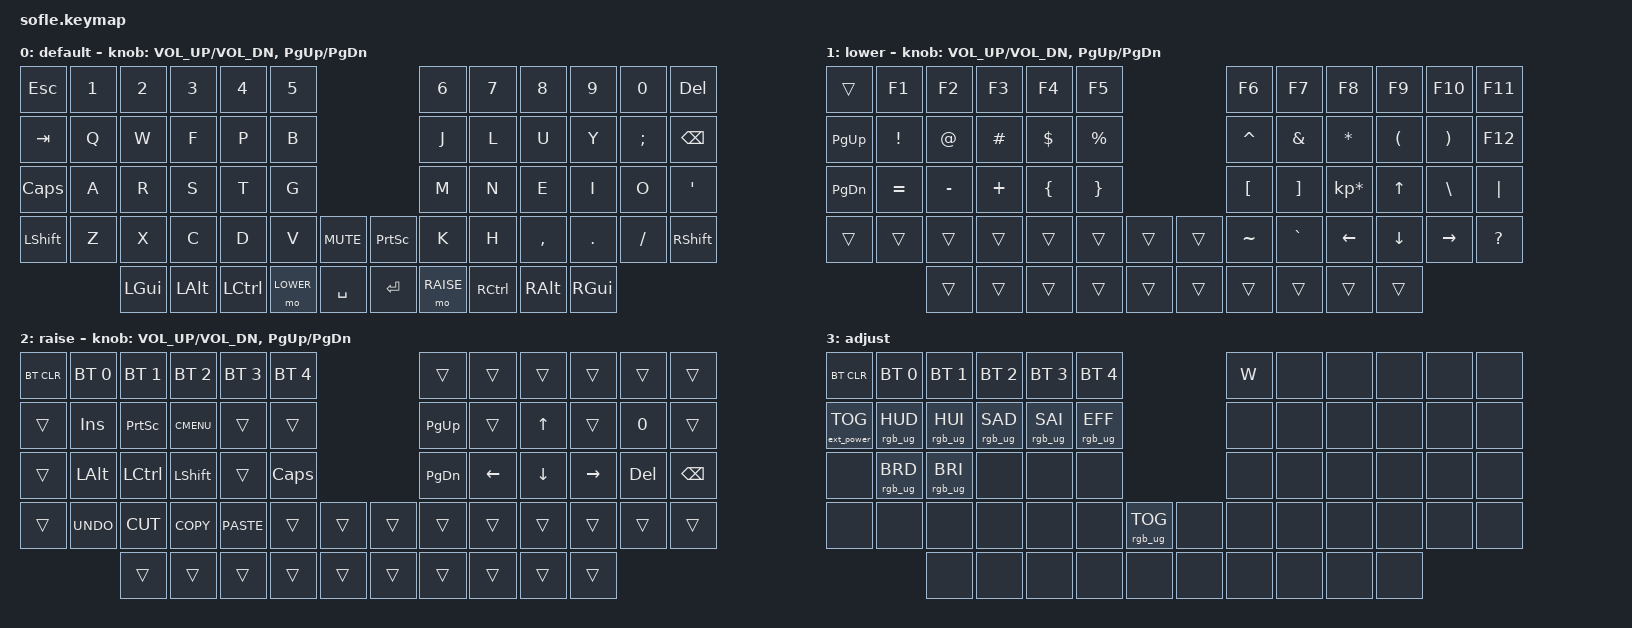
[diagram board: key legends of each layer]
/*
 * Copyright (c) 2020 The ZMK Contributors
 *
 * SPDX-License-Identifier: MIT
 */

#include <behaviors.dtsi>
#include <dt-bindings/zmk/bt.h>
#include <dt-bindings/zmk/ext_power.h>
#include <dt-bindings/zmk/keys.h>
#include <dt-bindings/zmk/rgb.h>

#define BASE 0
#define LOWER 1
#define RAISE 2
#define ADJUST 3

/ {
    // Activate ADJUST layer by pressing raise and lower

    conditional_layers {
        compatible = "zmk,conditional-layers";

        adjust_layer {
            if-layers = <LOWER RAISE>;
            then-layer = <ADJUST>;
        };
    };

    keymap {
        compatible = "zmk,keymap";

        default_layer {
            label = "default";

            // ------------------------------------------------------------------------------------------------------------
            // |   `   |  1  |  2  |  3   |  4   |  5   |                   |  6   |  7    |  8    |  9   |   0   |       |
            // |  ESC  |  Q  |  W  |  E   |  R   |  T   |                   |  Y   |  U    |  I    |  O   |   P   | BKSPC |
            // |  TAB  |  A  |  S  |  D   |  F   |  G   |                   |  H   |  J    |  K    |  L   |   ;   |   '   |
            // | SHIFT |  Z  |  X  |  C   |  V   |  B   |  MUTE  |  |       |  N   |  M    |  ,    |  .   |   /   | SHIFT |
            //               | GUI | ALT  | CTRL | LOWER|  ENTER |  | SPACE | RAISE| CTRL  | ALT   | GUI  |

            bindings = <
&kp ESC    &kp N1  &kp N2    &kp N3    &kp N4     &kp N5                                    &kp N6     &kp N7     &kp N8     &kp N9    &kp N0         &kp DELETE
&kp TAB    &kp Q   &kp W     &kp F     &kp P      &kp B                                     &kp J      &kp L      &kp U      &kp Y     &kp SEMICOLON  &kp BSPC
&kp CAPS   &kp A   &kp R     &kp S     &kp T      &kp G                                     &kp M      &kp N      &kp E      &kp I     &kp O          &kp SQT
&kp LSHFT  &kp Z   &kp X     &kp C     &kp D      &kp V      &kp C_MUTE    &kp PRINTSCREEN  &kp K      &kp H      &kp COMMA  &kp DOT   &kp FSLH       &kp RSHFT
                   &kp LGUI  &kp LALT  &kp LCTRL  &mo LOWER  &kp SPACE     &kp ENTER        &mo RAISE  &kp RCTRL  &kp RALT   &kp RGUI
            >;

            sensor-bindings = <&inc_dec_kp C_VOL_UP C_VOL_DN &inc_dec_kp PG_UP PG_DN>;
        };

        lower_layer {
            label = "lower";

            // TODO: Some binds are waiting for shifted keycode support.
            // ------------------------------------------------------------------------------------------------------------
            // |       |  F1 |  F2 |  F3  |  F4  |  F5  |                   |  F6  |  F7   |  F8   |  F9  |  F10  |  F11  |
            // |   `   |  1  |  2  |  3   |  4   |  5   |                   |  6   |  7    |  8    |  9   |   0   |  F12  |
            // |       |  !  |  @  |  #   |  $   |  %   |                   |  ^   |  &    |  *    |  (   |   )   |   |   |
            // |       |  =  |  -  |  +   |  {   |  }   |        |  |       |  [   |  ]    |  ;    |  :   |   \   |       |
            //               |     |      |      |      |        |  |       |      |       |       |      |

            bindings = <
&trans     &kp F1           &kp F2       &kp F3    &kp F4          &kp F5                             &kp F6            &kp F7             &kp F8           &kp F9                &kp F10                &kp F11
&kp PG_UP  &kp EXCLAMATION  &kp AT_SIGN  &kp HASH  &kp DOLLAR      &kp PERCENT                        &kp CARET         &kp AMPERSAND      &kp ASTERISK     &kp LEFT_PARENTHESIS  &kp RIGHT_PARENTHESIS  &kp F12
&kp PG_DN  &kp EQUAL        &kp MINUS    &kp PLUS  &kp LEFT_BRACE  &kp RIGHT_BRACE                    &kp LEFT_BRACKET  &kp RIGHT_BRACKET  &kp KP_MULTIPLY  &kp UP_ARROW          &kp BACKSLASH          &kp PIPE
&trans     &trans           &trans       &trans    &trans          &trans           &trans    &trans  &kp TILDE         &kp GRAVE          &kp LEFT         &kp DOWN              &kp RIGHT              &kp QUESTION
                            &trans       &trans    &trans          &trans           &trans    &trans  &trans            &trans             &trans           &trans
            >;

            sensor-bindings = <&inc_dec_kp C_VOL_UP C_VOL_DN &inc_dec_kp PG_UP PG_DN>;
        };

        raise_layer {
            label = "raise";

            // ------------------------------------------------------------------------------------------------------------
            // | BTCLR | BT1  | BT2  |  BT3  |  BT4  |  BT5 |                |      |      |       |      |       |       |
            // |       | INS  | PSCR | GUI   |       |      |                | PGUP |      |   ^   |      |       |       |
            // |       | ALT  | CTRL | SHIFT |       | CAPS |                | PGDN |   <- |   v   |  ->  |  DEL  | BKSPC |
            // |       | UNDO | CUT  | COPY  | PASTE |      |      |  |      |      |      |       |      |       |       |
            //                |      |       |       |      |      |  |      |      |      |       |      |

            bindings = <
&bt BT_CLR  &bt BT_SEL 0  &bt BT_SEL 1  &bt BT_SEL 2  &bt BT_SEL 3  &bt BT_SEL 4                    &trans     &trans    &trans    &trans     &trans   &trans
&trans      &kp INS       &kp PSCRN     &kp K_CMENU   &trans        &trans                          &kp PG_UP  &trans    &kp UP    &trans     &kp N0   &trans
&trans      &kp LALT      &kp LCTRL     &kp LSHFT     &trans        &kp CLCK                        &kp PG_DN  &kp LEFT  &kp DOWN  &kp RIGHT  &kp DEL  &kp BSPC
&trans      &kp K_UNDO    &kp K_CUT     &kp K_COPY    &kp K_PASTE   &trans        &trans    &trans  &trans     &trans    &trans    &trans     &trans   &trans
                          &trans        &trans        &trans        &trans        &trans    &trans  &trans     &trans    &trans    &trans
            >;

            sensor-bindings = <&inc_dec_kp C_VOL_UP C_VOL_DN &inc_dec_kp PG_UP PG_DN>;
        };

        adjust_layer {
            // ----------------------------------------------------------------------------------------------------------------------------
            // | BTCLR  |  BT1    |  BT2    |   BT3   |   BT4   |   BT5   |                  |      |      |       |      |       |       |
            // | EXTPWR | RGB_HUD | RGB_HUI | RGB_SAD | RGB_SAI | RGB_EFF |                  |      |      |       |      |       |       |
            // |        | RGB_BRD | RGB_BRI |         |         |         |                  |      |      |       |      |       |       |
            // |        |         |         |         |         |         | RGB_TOG | |      |      |      |       |      |       |       |
            //                    |         |         |         |         |         | |      |      |      |       |      |

            label = "adjust";
            bindings = <
&bt BT_CLR         &bt BT_SEL 0     &bt BT_SEL 1     &bt BT_SEL 2     &bt BT_SEL 3     &bt BT_SEL 4                               &kp W  &none  &none  &none  &none  &none
&ext_power EP_TOG  &rgb_ug RGB_HUD  &rgb_ug RGB_HUI  &rgb_ug RGB_SAD  &rgb_ug RGB_SAI  &rgb_ug RGB_EFF                            &none  &none  &none  &none  &none  &none
&none              &rgb_ug RGB_BRD  &rgb_ug RGB_BRI  &none            &none            &none                                      &none  &none  &none  &none  &none  &none
&none              &none            &none            &none            &none            &none            &rgb_ug RGB_TOG    &none  &none  &none  &none  &none  &none  &none
                                    &none            &none            &none            &none            &none              &none  &none  &none  &none  &none
            >;
        };
    };
};
